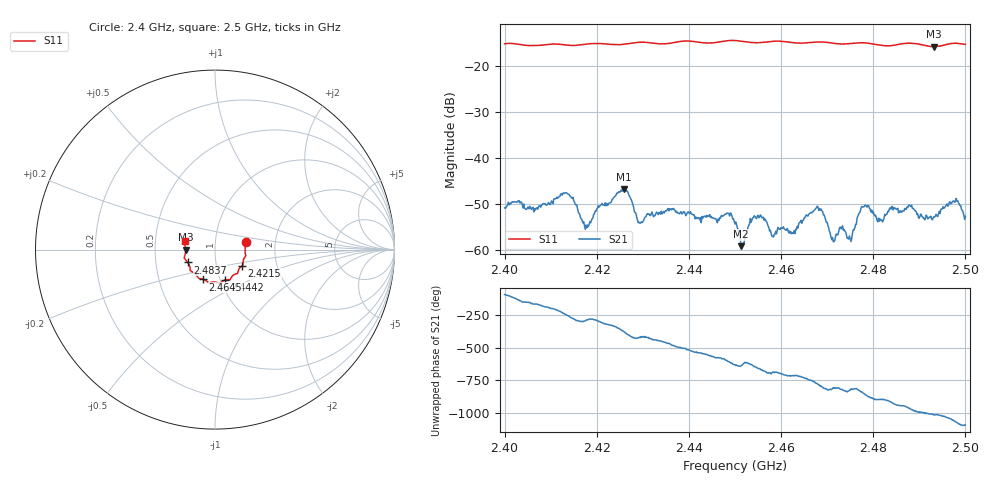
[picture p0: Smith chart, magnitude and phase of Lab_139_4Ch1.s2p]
# Hz S RI R 50
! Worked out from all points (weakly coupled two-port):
!   601 points, 2.4 GHz to 2.5 GHz, reference 50 ohm
!   highest |S21| = -46.63 dB at 2.4258 GHz (marker M1); lowest = -59.1 dB at 2.4513 GHz (marker M2)
!   lowest |S11| = -15.7 dB at 2.4932 GHz (marker M3), VSWR 1.39, Z = 36 - j0.0459 ohm
!   |S11| at or under -10 dB: start of sweep to end of sweep
!   S12 and S22 are empty: the file has one direction only
!   S11 on the Smith chart (normalised r, x): 2.4 GHz: 1.41, +0.12; 2.4215 GHz: 1.33, -0.25; 2.4442 GHz: 1.05, -0.37; 2.4645 GHz: 0.83, -0.29; 2.4837 GHz: 0.73, -0.11; 2.5 GHz: 0.71, +0.07
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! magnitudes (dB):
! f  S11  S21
! 2.4 GHz  -15.1  -50.8
! 2.4132 GHz  -15.3  -47.5
! 2.4167 GHz  -15.3  -53.2
! 2.4215 GHz  -15.1  -50.1
! 2.4258 GHz  -15.2  -46.6
! 2.4293 GHz  -14.8  -54.0
! 2.4333 GHz  -15.1  -52.2
! 2.4442 GHz  -15.0  -52.4
! 2.45 GHz  -14.4  -54.2
! 2.4513 GHz  -14.5  -59.1
! 2.4545 GHz  -14.9  -52.9
! 2.4585 GHz  -14.5  -56.5
! 2.4645 GHz  -15.0  -54.1
! 2.4667 GHz  -14.8  -51.8
! 2.4713 GHz  -15.0  -58.1
! 2.475 GHz  -15.1  -57.5
! 2.4778 GHz  -14.9  -50.6
! 2.4833 GHz  -15.6  -51.5
! 2.4837 GHz  -15.5  -50.8
! 2.4932 GHz  -15.7  -52.7
! 2.4978 GHz  -15.0  -49.4
! 2.5 GHz  -15.3  -52.6
